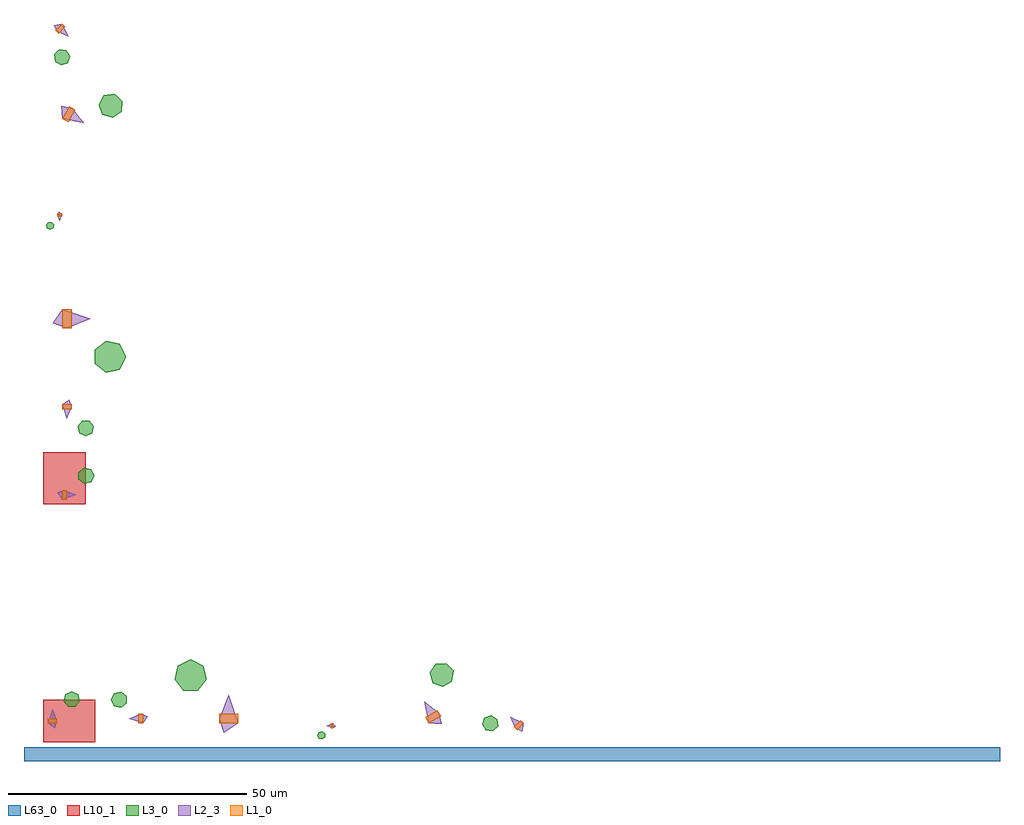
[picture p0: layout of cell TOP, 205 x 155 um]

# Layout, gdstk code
from math import pi, radians
import gdstk
lib = gdstk.Library(unit=1e-6, precision=1e-09)
def R(c, l, rs):  # rectangles x0, y0, x1, y1
    for r in rs: c.add(gdstk.rectangle(r[:2], r[2:], *l))
def P(c, l, *ps):  # polygons
    for p in ps: c.add(gdstk.Polygon(p, *l))
L1_0 = (1, 0)
L2_3 = (2, 3)
L3_0 = (3, 0)
L10_1 = (10, 1)
L63_0 = (63, 0)

leaf = lib.new_cell('LEAF')
R(leaf, L1_0, [(0,0,2,1)])
P(leaf, L2_3, [(0,0),(1,3),(2,0.5),(1.5,-1)])
P(leaf, L3_0, [(5.75,3.443),(6.685,4.615),(6.351,6.078),(5,6.729),(3.649,6.078),(3.315,4.615),(4.25,3.443)])

mid = lib.new_cell('MID')
R(mid, L10_1, [(-1,-1,10,8)])
mid.add(gdstk.Reference(leaf, (0,3)))
mid.add(gdstk.Reference(leaf, (20,3), rotation=pi/2))
mid.add(gdstk.Reference(leaf, (40,3), rotation=pi, magnification=2, x_reflection=True))
mid.add(gdstk.Reference(leaf, (60,3), rotation=3*pi/2, magnification=0.5, x_reflection=True))
mid.add(gdstk.Reference(leaf, (80,3), rotation=radians(30), magnification=1.5))
mid.add(gdstk.Reference(leaf, (100,3), rotation=radians(-135), x_reflection=True))

top = lib.new_cell('TOP')
R(top, L63_0, [(-5,-5,200,-2)])
top.add(gdstk.Reference(mid, (0,0)))
top.add(gdstk.Reference(mid, (0,50), rotation=pi/2, x_reflection=True))

lib.write_gds('TOP.gds')
